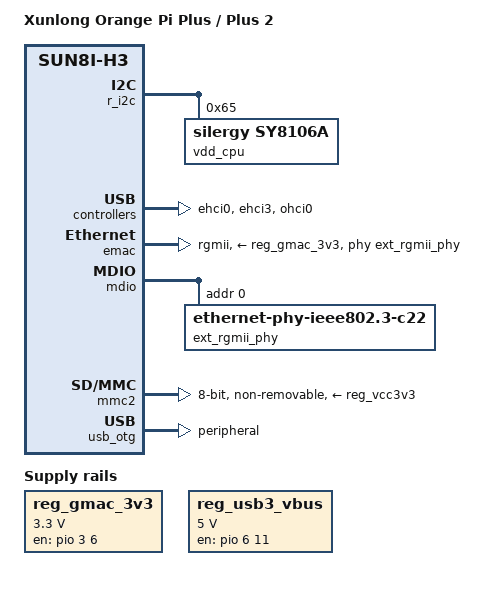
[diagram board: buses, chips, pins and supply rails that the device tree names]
/*
 * Copyright (C) 2015 Jens Kuske <jenskuske@gmail.com>
 *
 * This file is dual-licensed: you can use it either under the terms
 * of the GPL or the X11 license, at your option. Note that this dual
 * licensing only applies to this file, and not this project as a
 * whole.
 *
 *  a) This file is free software; you can redistribute it and/or
 *     modify it under the terms of the GNU General Public License as
 *     published by the Free Software Foundation; either version 2 of the
 *     License, or (at your option) any later version.
 *
 *     This file is distributed in the hope that it will be useful,
 *     but WITHOUT ANY WARRANTY; without even the implied warranty of
 *     MERCHANTABILITY or FITNESS FOR A PARTICULAR PURPOSE.  See the
 *     GNU General Public License for more details.
 *
 * Or, alternatively,
 *
 *  b) Permission is hereby granted, free of charge, to any person
 *     obtaining a copy of this software and associated documentation
 *     files (the "Software"), to deal in the Software without
 *     restriction, including without limitation the rights to use,
 *     copy, modify, merge, publish, distribute, sublicense, and/or
 *     sell copies of the Software, and to permit persons to whom the
 *     Software is furnished to do so, subject to the following
 *     conditions:
 *
 *     The above copyright notice and this permission notice shall be
 *     included in all copies or substantial portions of the Software.
 *
 *     THE SOFTWARE IS PROVIDED "AS IS", WITHOUT WARRANTY OF ANY KIND,
 *     EXPRESS OR IMPLIED, INCLUDING BUT NOT LIMITED TO THE WARRANTIES
 *     OF MERCHANTABILITY, FITNESS FOR A PARTICULAR PURPOSE AND
 *     NONINFRINGEMENT. IN NO EVENT SHALL THE AUTHORS OR COPYRIGHT
 *     HOLDERS BE LIABLE FOR ANY CLAIM, DAMAGES OR OTHER LIABILITY,
 *     WHETHER IN AN ACTION OF CONTRACT, TORT OR OTHERWISE, ARISING
 *     FROM, OUT OF OR IN CONNECTION WITH THE SOFTWARE OR THE USE OR
 *     OTHER DEALINGS IN THE SOFTWARE.
 */

/* The Orange Pi Plus is an extended version of the Orange Pi 2 */
#include "sun8i-h3-orangepi-2.dts"
#include <dt-bindings/thermal/thermal.h>

/ {
	model = "Xunlong Orange Pi Plus / Plus 2";
	compatible = "xunlong,orangepi-plus", "allwinner,sun8i-h3";

	aliases {
		ethernet0 = &emac;
	};

	reg_gmac_3v3: gmac-3v3 {
		compatible = "regulator-fixed";
		regulator-name = "gmac-3v3";
		regulator-min-microvolt = <3300000>;
		regulator-max-microvolt = <3300000>;
		startup-delay-us = <100000>;
		enable-active-high;
		gpio = <&pio 3 6 GPIO_ACTIVE_HIGH>;
	};

	reg_usb3_vbus: usb3-vbus {
		compatible = "regulator-fixed";
		pinctrl-names = "default";
		pinctrl-0 = <&usb3_vbus_pin_a>;
		regulator-name = "usb3-vbus";
		regulator-min-microvolt = <5000000>;
		regulator-max-microvolt = <5000000>;
		regulator-boot-on;
		enable-active-high;
		gpio = <&pio 6 11 GPIO_ACTIVE_HIGH>;
	};
};

&cpu0 {
	operating-points = <
		/* kHz	  uV */
		1368000	1500000
		1344000	1500000
		1296000	1340000
		1248000	1340000
		1224000	1340000
		1200000	1340000
		1152000	1320000
		1104000	1320000
		1056000	1320000
		1008000	1200000
		960000	1200000
		816000	1100000
		648000	1100000
		480000	1040000
		240000	1040000
		120000	1040000
		>;
	#cooling-cells = <2>;
	cooling-min-level = <0>;
	cooling-max-level = <15>;
	cpu0-supply = <&vdd_cpu>;
};

&cpu_thermal {
	trips {
		cpu_warm: cpu_warm {
			temperature = <65000>;
			hysteresis = <2000>;
			type = "passive";
		};
		cpu_hot: cpu_hot {
			temperature = <75000>;
			hysteresis = <2000>;
			type = "passive";
		};
		cpu_very_hot: cpu_very_hot {
			temperature = <90000>;
			hysteresis = <2000>;
			type = "passive";
		};
		cpu_crit: cpu_crit {
			temperature = <105000>;
			hysteresis = <2000>;
			type = "critical";
		};
	};

	cooling-maps {
		cpu_warm_limit_cpu {
			trip = <&cpu_warm>;
			cooling-device = <&cpu0 THERMAL_NO_LIMIT 10>;
		};
		cpu_hot_limit_cpu {
			trip = <&cpu_hot>;
			cooling-device = <&cpu0 12 12>;
		};
		cpu_very_hot_limit_cpu {
			trip = <&cpu_very_hot>;
			cooling-device = <&cpu0 14 THERMAL_NO_LIMIT>;
		};
	};
};

&r_i2c {
	status = "okay";

	vdd_cpu: regulator@65 {
		compatible = "silergy,sy8106a";
		reg = <0x65>;
		regulator-min-microvolt = <1040000>;
		regulator-max-microvolt = <1500000>;
		regulator-ramp-delay = <200>;
		regulator-boot-on;
		regulator-always-on;
	};
};

&ehci0 {
	status = "okay";
};

&ehci3 {
	status = "okay";
};

&emac {
	pinctrl-names = "default";
	pinctrl-0 = <&emac_rgmii_pins>;
	phy-supply = <&reg_gmac_3v3>;
	phy-handle = <&ext_rgmii_phy>;
	phy-mode = "rgmii";

	allwinner,leds-active-low;
	status = "okay";
};

&mdio {
	ext_rgmii_phy: ethernet-phy@1 {
		compatible = "ethernet-phy-ieee802.3-c22";
		reg = <0>;
	};
};

&mmc2 {
	pinctrl-names = "default";
	pinctrl-0 = <&mmc2_8bit_pins>;
	vmmc-supply = <&reg_vcc3v3>;
	bus-width = <8>;
	non-removable;
	cap-mmc-hw-reset;
	status = "okay";
};

&mmc2_8bit_pins {
	/* Increase drive strength for DDR modes */
	drive-strength = <40>;
	/* eMMC is missing pull-ups */
	bias-pull-up;
};

&ohci0 {
	status = "okay";
};

&pio {
	usb3_vbus_pin_a: usb3_vbus_pin@0 {
		pins = "PG11";
		function = "gpio_out";
	};
};

&reg_usb0_vbus {
	gpio = <&r_pio 0 2 GPIO_ACTIVE_HIGH>; /* PL2 */
	status = "okay";
};

&usb_otg {
	dr_mode = "peripheral";
	status = "okay";
};

&usbphy {
	usb3_vbus-supply = <&reg_usb3_vbus>;
	usb0_id_det-gpios = <&pio 6 12 GPIO_ACTIVE_HIGH>; /* PG12 */
	usb0_vbus-supply = <&reg_usb0_vbus>;
};
